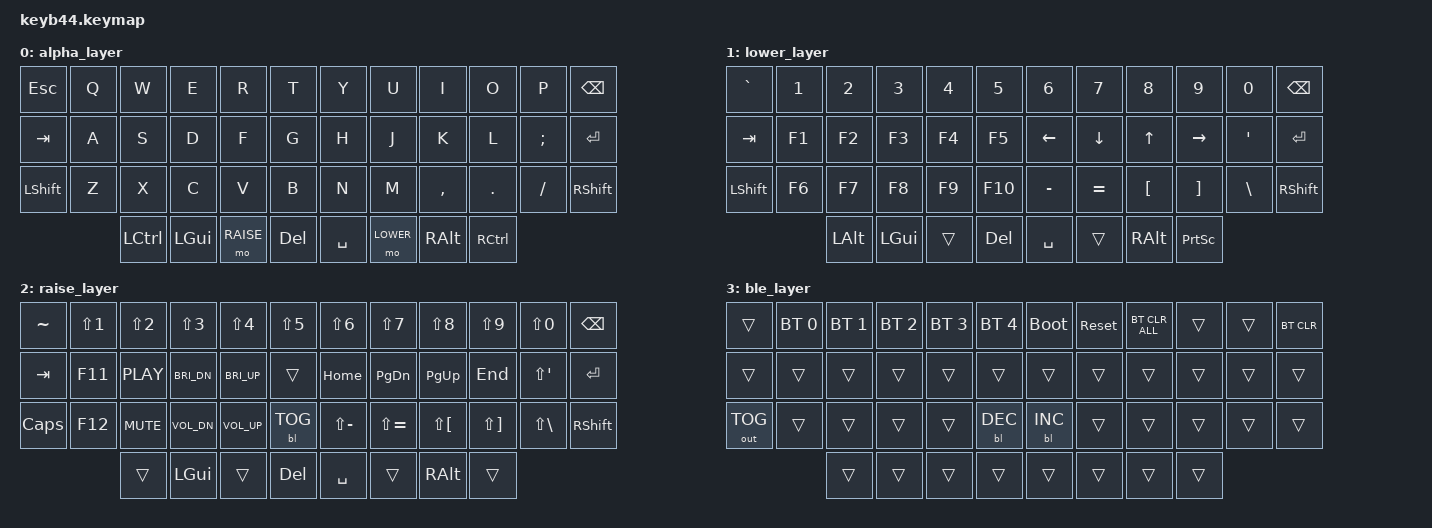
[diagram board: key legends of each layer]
/*
*OUT_USB	Prefer sending to USB
*OUT_BLE	Prefer sending to the current bluetooth profile
*OUT_TOG	Toggle between USB and BLE
*/


#include <dt-bindings/zmk/keys.h>
#include <behaviors.dtsi>
#include <dt-bindings/zmk/backlight.h>
#include <dt-bindings/zmk/bt.h>
#include <dt-bindings/zmk/reset.h>
#include <dt-bindings/zmk/outputs.h>


#define ALPHA       0
#define LOWER       1
#define RAISE       2
#define BCTRL       3

/ { 
    conditional_layers {
        compatible = "zmk,conditional-layers";
        tri_layer {
            if-layers = <RAISE LOWER>;
            then-layer = <BCTRL>;
        };
    };




 
	keymap {
		compatible = "zmk,keymap";

		alpha_layer {
		                        // -----------------------------------------------------------------------------------------
		                        // | ESC |  Q  |  W  |  E  |  R  |  T  |   |  Y  |  U   |  I  |  O  |  P  | BKSP  |
		                        // | TAB |  A  |  S  |  D  |  F  |  G  |   |  H  |  J   |  K  |  L  |  ;  | ENTER |
		                        // | SHFT|  Z  |  X  |  C  |  V  |  B  |   |  N  |  M   |  ,  |  .  |  /  | SHFT  |
		                        //             |CTRL | GUI | RSE | DEL |   | SPC | LWR  |ALTGR| CTRL|
			bindings = <
    &kp ESC			&kp Q			&kp W			&kp E			&kp R			&kp T				&kp Y			&kp U			&kp I			&kp O			&kp P			&kp BSPC
	&kp TAB		    &kp A			&kp S			&kp D			&kp F			&kp G				&kp H			&kp J			&kp K			&kp L			&kp SEMI		&kp ENTER
	&kp LSHFT		&kp Z			&kp X			&kp C			&kp V			&kp B				&kp N			&kp M			&kp COMMA		&kp DOT			&kp SLASH		&kp RSHFT
									&kp LCTRL		&kp LGUI        &mo RAISE		&kp DEL             &kp SPACE  		&mo LOWER		&kp RALT        &kp RCTRL
    
			>;
		};

		lower_layer {
			bindings = <
	&kp GRAVE		&kp N1			&kp N2			&kp N3			&kp N4			&kp N5				&kp N6			&kp N7			&kp N8			&kp N9			&kp N0			&kp BSPC
	&kp	TAB			&kp F1			&kp F2			&kp F3			&kp F4			&kp F5				&kp LEFT		&kp DOWN		&kp UP			&kp RIGHT		&kp SQT			&kp ENTER
	&kp LSHFT		&kp F6			&kp F7			&kp F8			&kp F9			&kp F10				&kp MINUS		&kp EQUAL		&kp LBKT		&kp RBKT		&kp BSLH		&kp RSHFT
									&kp LALT		&kp LGUI		&trans			&kp DEL				&kp SPACE		&trans			&kp RALT		&kp PSCRN
			>;
		};

		raise_layer {
			bindings = <
	&kp TILDE		&kp LS(N1)		&kp LS(N2)		&kp LS(N3)		&kp LS(N4)		&kp LS(N5)			&kp LS(N6)		&kp LS(N7)		&kp LS(N8)		&kp LS(N9)		&kp LS(N0)		&kp BSPC
	&kp	TAB			&kp F11			&kp C_PLAY	    &kp C_BRI_DN  	&kp C_BRI_UP	&trans				&kp HOME		&kp PG_DN		&kp PG_UP		&kp END			&kp LS(SQT)		&kp ENTER
	&kp CAPS		&kp F12			&kp C_MUTE		&kp C_VOL_DN	&kp C_VOL_UP	&bl BL_TOG			&kp LS(MINUS)	&kp LS(EQUAL)	&kp LS(LBKT)	&kp LS(RBKT)	&kp LS(BSLH) 	&kp RSHFT
									&trans			&kp LGUI		&trans			&kp DEL				&kp SPACE		&trans			&kp RALT        &trans
			>;
		};

		ble_layer {
			bindings = <
	&trans  		&bt BT_SEL 0	&bt BT_SEL 1	&bt BT_SEL 2	&bt BT_SEL 3	&bt BT_SEL 4		&bootloader		&sys_reset		&bt BT_CLR_ALL	&trans			&trans			&bt BT_CLR
	&trans			&trans			&trans			&trans			&trans			&trans      		&trans			&trans          &trans			&trans			&trans			&trans
	&out OUT_TOG	&trans      	&trans			&trans			&trans 			&bl BL_DEC			&bl BL_INC		&trans			&trans			&trans			&trans			&trans
									&trans			&trans			&trans			&trans			    &trans		    &trans			&trans          &trans
			>;
		};
	};

	
};

 
